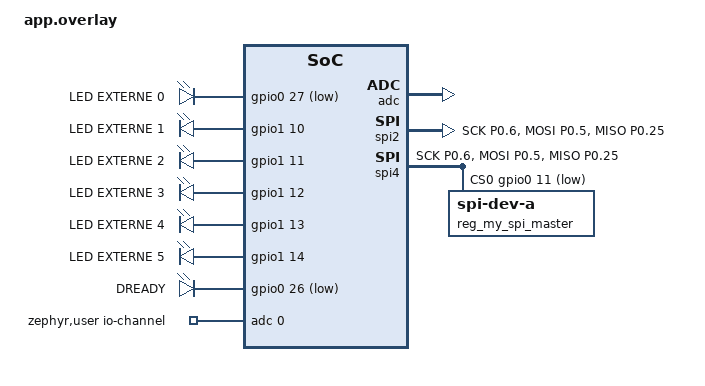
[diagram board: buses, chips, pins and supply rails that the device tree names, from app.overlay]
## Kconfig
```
#
# Copyright (c) 2018 Nordic Semiconductor
#
# SPDX-License-Identifier: LicenseRef-Nordic-5-Clause
#

source "Kconfig.zephyr"

menu "Nordic UART BLE GATT service sample"

config BT_NUS_THREAD_STACK_SIZE
	int "Thread stack size"
	default 1024
	help
	  Stack size used in each of the two threads

config BT_NUS_UART_BUFFER_SIZE
	int "UART payload buffer element size"
	default 40
	help
	  Size of the payload buffer in each RX and TX FIFO element

config BT_NUS_SECURITY_ENABLED
	bool "Enable security"
	default y
	select BT_SMP
	help
	  "Enable BLE security for the UART service"

config BT_NUS_UART_RX_WAIT_TIME
	int "Timeout for UART RX complete event"
	default 50
	help
	  Wait for RX complete event time in milliseconds

config BT_NUS_UART_ASYNC_ADAPTER
	bool "Enable UART async adapter"
	select SERIAL_SUPPORT_ASYNC
	help
	  Enables asynchronous adapter for UART drives that supports only
	  IRQ interface.
	  
config COUNTER_RTC0
	bool
	default y if SOC_FAMILY_NRF

config COUNTER_SAM0_TC32
	bool
	default y if BOARD_ATSAMD20_XPRO
endmenu
```

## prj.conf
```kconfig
#
# Copyright (c) 2018 Nordic Semiconductor
#
# SPDX-License-Identifier: LicenseRef-Nordic-5-Clause
#

# Enable the UART driver
CONFIG_UART_ASYNC_API=y
CONFIG_NRFX_UARTE0=y
CONFIG_SERIAL=y

CONFIG_GPIO=y

# Make sure printk is printing to the UART console
CONFIG_CONSOLE=y
CONFIG_UART_CONSOLE=y

CONFIG_HEAP_MEM_POOL_SIZE=2048

CONFIG_BT=y
CONFIG_BT_PERIPHERAL=y
CONFIG_BT_DEVICE_NAME="Nordic_UART_Service"
CONFIG_BT_DEVICE_APPEARANCE=833
CONFIG_BT_MAX_CONN=1
CONFIG_BT_MAX_PAIRED=1

# Enable the NUS service
CONFIG_BT_NUS=y

# Enable bonding
CONFIG_BT_SETTINGS=y
CONFIG_FLASH=y
CONFIG_FLASH_PAGE_LAYOUT=y
CONFIG_FLASH_MAP=y
CONFIG_NVS=y
CONFIG_SETTINGS=y

# Enable DK LED and Buttons library
CONFIG_DK_LIBRARY=y

# This example requires more workqueue stack
CONFIG_SYSTEM_WORKQUEUE_STACK_SIZE=2048

# Config logger
CONFIG_LOG=y
CONFIG_USE_SEGGER_RTT=y
CONFIG_LOG_BACKEND_RTT=y
CONFIG_LOG_BACKEND_UART=n

CONFIG_ASSERT=y

#
# Copyright (c) 2018 Nordic Semiconductor
#
# SPDX-License-Identifier: LicenseRef-Nordic-5-Clause
#
CONFIG_PRINTK=y
CONFIG_COUNTER=y
#CONFIG_COUNTER_RTC0=y

# Enable the UART driver
#CONFIG_UART_ASYNC_API=y
#CONFIG_NRFX_UARTE0=y

#SL: ADC config
#CONFIG_STDOUT_CONSOLE=y

CONFIG_ADC=y
CONFIG_ADC_ASYNC=y
CONFIG_ADC_NRFX_SAADC=y
CONFIG_MAIN_STACK_SIZE=4096
CONFIG_FPU=y
CONFIG_SPI=y
CONFIG_NFCT_PINS_AS_GPIOS=y
#CONFIG_OPENOCD_SUPPORT=y
CONFIG_DEBUG_OPTIMIZATIONS=y
#CONFIG_NRFX_SPIM=y
CONFIG_NRFX_SPIM2=y
CONFIG_NRFX_GPIOTE=y

CONFIG_LOG_PRINTK=y
```

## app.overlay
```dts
/ {
	aliases {
		ledext0 = &ledext0;
                ledext1 = &ledext1;
                ledext2 = &ledext2;
                ledext3 = &ledext3;
                ledext4 = &ledext4;
                ledext5 = &ledext5;
	};
};

/ {
leds {
      compatible = "gpio-leds";
	ledext0: led_ext0 {
		gpios = <&gpio0 27 GPIO_ACTIVE_LOW>; //d�finir le SPI reset sur le P1.02
		label = "LED EXTERNE 0";
                };
        ledext1: led_ext1 {
        	gpios = <&gpio1 10 GPIO_ACTIVE_HIGH>; //d�finir le led externe 1 sur le P1.10
        	label = "LED EXTERNE 1";
                };

        ledext2: led_ext2 {
        	gpios = <&gpio1 11 GPIO_ACTIVE_HIGH>;
        	label = "LED EXTERNE 2";
                };

        ledext3: led_ext3 {
        	gpios = <&gpio1 12 GPIO_ACTIVE_HIGH>;
        	label = "LED EXTERNE 3";
                };

        ledext4: led_ext4 {
        	gpios = <&gpio1 13 GPIO_ACTIVE_HIGH>;
        	label = "LED EXTERNE 4";
                };

        ledext5: led_ext5 {
        	gpios = <&gpio1 14 GPIO_ACTIVE_HIGH>;
        	label = "LED EXTERNE 5";
                };
		pinpwdn: pin_pwdn {
			gpios = <&gpio0 26 GPIO_ACTIVE_LOW>; //d�finir le power sur le P1.02
			label = "DREADY";
		};
      };
};

/ {
	zephyr,user {
		/* adjust channel number according to pinmux in board.dts */
		io-channels = <&adc 0>;
	};
};

&adc {
	status = "okay";
};

&uart1 {
	status = "disabled";
};

&pinctrl {
	spi_dummy: spi_dummy {
        group1 {
            psels = <NRF_PSEL(SPIM_SCK, 0, 0)>,
                <NRF_PSEL(SPIM_MISO, 0, 0)>,
                <NRF_PSEL(SPIM_MOSI, 0, 0)>;
        };
    };
};

&spi2 {
	compatible = "nordic,nrf-spim";
	status = "okay";
	pinctrl-names = "default";
	pinctrl-0 = <&spi_master_default>;
};

&gpio0 {
	status = "okay";
	label = "GPIO_0";
};

&pinctrl {
	spi_master_default: spi_master_default {
		group1 {
			psels = <NRF_PSEL(SPIM_SCK, 0, 6)>,
					<NRF_PSEL(SPIM_MOSI, 0, 5)>,
					<NRF_PSEL(SPIM_MISO, 0, 25)>;
		};
	};

	spi_master_sleep: spi_master_sleep {
		group1 {
			psels = <NRF_PSEL(SPIM_SCK, 0, 6)>,
					<NRF_PSEL(SPIM_MOSI, 0, 5)>,
					<NRF_PSEL(SPIM_MISO, 0, 25)>;
			low-power-enable;
		};
	};
};

my_spi_master: &spi4 {
	compatible = "nordic,nrf-spim";
	status = "okay";
	pinctrl-0 = <&spi_master_default>;
	pinctrl-1 = <&spi_master_sleep>;
	cs-gpios = <&gpio0 11 GPIO_ACTIVE_LOW>;
	reg_my_spi_master:  spi-dev-a@0 {
		reg = <0>;
	};
};



/ {
	chosen {
		nordic,nus-uart = &uart0;
	};
};
```

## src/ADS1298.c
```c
#include "ADS1298.h"
#include <zephyr/sys/printk.h>
#include <nrfx_spim.h>
#include <zephyr/device.h>
#include <zephyr/devicetree.h>
#include <zephyr/drivers/gpio.h>

#define POLL_DREADY

#ifndef POLL_DREADY
    #include <nrfx_gpiote.h>
#endif


volatile enum state_t {idle, send_command, receive_data, read_data, processing_data} state = idle;
bool new_data_available = false;

static const nrfx_spim_t m_spi = NRFX_SPIM_INSTANCE(SPI_INSTANCE);
volatile uint8_t rx_buffer[27], tx_buffer[8];
uint8_t sample_number = 0;

const struct device *gpio_dev_0;

inline int32_t buffer_to_channel(uint8_t id);
bool ADS1298_receive_data();
ADS1298_data_t ADS1298_convert_data();

#ifndef POLL_DREADY
    void data_ready_handler(nrfx_gpiote_pin_t pin, nrf_gpiote_polarity_t action);
#endif

void spim_event_handler(nrfx_spim_evt_t const *p_event, void *p_context) 
{
    switch (p_event->type)
    {
    case NRFX_SPIM_EVENT_DONE:
        if(state == receive_data) {
            new_data_available = true;
        } 
        state = idle;
        break;
    default:
        break;
    }
    return;
}

#ifndef POLL_DREADY
void data_ready_handler(nrfx_gpiote_pin_t pin, nrf_gpiote_polarity_t action) {
    if(pin == PIN_DRDY && action == NRF_GPIOTE_POLARITY_HITOLO) {
        printk("new dready\n");
        ADS1298_receive_data();
    }
}
#endif
#define APP_SPIM_CS_PIN (2)
#define APP_SPIM_SCK_PIN (8)
#define APP_SPIM_MISO_PIN (24)
#define APP_SPIM_MOSI_PIN (9)
bool ADS1298_init() {
    nrfx_spim_config_t config = NRFX_SPIM_DEFAULT_CONFIG(APP_SPIM_SCK_PIN, APP_SPIM_MOSI_PIN, APP_SPIM_MISO_PIN, NRFX_SPIM_PIN_NOT_USED);
    config.frequency = NRF_SPIM_FREQ_2M;
    config.ss_active_high = false;
    config.bit_order = SPIM_CONFIG_ORDER_MsbFirst;
    config.mode = NRF_SPIM_MODE_1;
    
    //nrfx_spim_uninit(&m_spi);
    int err = nrfx_spim_init(&m_spi, &config, spim_event_handler, NULL);

     if(err == NRFX_SUCCESS) {
        printk("SPI init success\r\n");
    } else {
        printk("FAIL: SPI init failed: %d\r\n", err);
        return false;
    }
    
    gpio_dev_0 = device_get_binding("GPIO_0");

    if (gpio_dev_0 == NULL) {
		return false;
	}

    #ifdef POLL_DREADY
        printk("Configure DREADY pin\r\n");
        err = gpio_pin_configure(gpio_dev_0, 7, GPIO_INPUT);
        printk("Return config DREADY pin: %d\r\n", err);
    #else
        // Interrupt
        if(!nrfx_gpiote_is_init()) {
            err = nrfx_gpiote_init(6);

            if(err == NRFX_SUCCESS) {
                printk("Pin IRQ init success\r\n");
            } else {
                printk("FAIL: pin IRQ init failed: %d\r\n", err);
                return false;
            }
        }

        nrfx_gpiote_in_config_t irq_config = NRFX_GPIOTE_CONFIG_IN_SENSE_TOGGLE(false ); // TODO: what is argument?
        err = nrfx_gpiote_in_init(PIN_DRDY, &irq_config, data_ready_handler);

        if(err == NRFX_SUCCESS) {
            printk("Pin IRQ config success\r\n");
        } else {
            printk("FAIL: pin IRQ config failed: %d\r\n", err);
            return false;
        }
    #endif

    #ifndef POLL_DREADY
        nrfx_gpiote_in_event_enable(PIN_DRDY, true);
    #endif

    return true; 
}

void poll_dready() {
    if(gpio_pin_get(gpio_dev_0, 7) == 0) {
        ADS1298_receive_data();
    }
}

int spi_transfer(const nrfx_spim_xfer_desc_t *desc) {
    return nrfx_spim_xfer(&m_spi, desc, 0);
}

bool ADS1298_send_command(uint8_t command) {
    if(state == idle) {
        nrfx_spim_xfer_desc_t spim_xfer_desc = NRFX_SPIM_XFER_TX(tx_buffer, 1);
        spim_xfer_desc.p_rx_buffer = NULL;
        spim_xfer_desc.rx_length = 0;
        tx_buffer[0] = command;
        state = send_command;

        int err = spi_transfer(&spim_xfer_desc);
        if(err != NRFX_SUCCESS) {
            printk("send command err: %d\r\n", err);
        }
        return true;
    } else {
        return false;
    }
}

/* function de read bloquant */
uint8_t ADS1298_read_data() {
    if(state == idle) {
        state = read_data;
        new_data_available = false;
        nrfx_spim_xfer_desc_t spim_xfer_desc = NRFX_SPIM_XFER_RX(rx_buffer, 1);
        spi_transfer(&spim_xfer_desc);
        while(state != idle)
        {
          __WFE();
        }
        return rx_buffer[0];
    } else {
        return ;
    }
}

bool ADS1298_receive_data() {
    if(state == idle) {
        state = receive_data;
        new_data_available = false;
        nrfx_spim_xfer_desc_t spim_xfer_desc = NRFX_SPIM_XFER_RX(rx_buffer, 27);
        spi_transfer(&spim_xfer_desc);
        return true;
    } else {
        return false;
    }
}

bool ADS1298_poll_new_data(ADS1298_data_t *data) {
    if(new_data_available) {
        new_data_available = false;
        state = processing_data;

        *data = ADS1298_convert_data();
       
        state = idle;
        return true;
    } else {
        return false;
    }
}

ADS1298_data_t ADS1298_convert_data() {
    /* Data structure: */
    /* 24 bit status */
    /*  - 1100 + LOFF_STATP(8 bit) + LOFF_STATN(8 bit) + GPIO(4 bit) */
    /* 8ch * 24 bits data */

    ADS1298_data_t data;
    
    data.lead_off_positive = rx_buffer[0] << 4;
    data.lead_off_positive |= (rx_buffer[1] & 0b11110000) >> 4;
    data.lead_off_negative = rx_buffer[1] << 4;
    data.lead_off_negative |= (rx_buffer[2] & 0b11110000) >> 4;

    data.gpio_0 = rx_buffer[2] & 0b00001000;
    data.gpio_1 = rx_buffer[2] & 0b00000100;
    data.gpio_2 = rx_buffer[2] & 0b00000010;
    data.gpio_3 = rx_buffer[2] & 0b00000001;

    data.channgel_0 = buffer_to_channel(0);
    data.channgel_1 = buffer_to_channel(1);
    data.channgel_2 = buffer_to_channel(2);
    data.channgel_3 = buffer_to_channel(3);
    data.channgel_4 = buffer_to_channel(4);
    data.channgel_5 = buffer_to_channel(5);
    data.channgel_6 = buffer_to_channel(6);
    data.channgel_7 = buffer_to_channel(7);

    return data;
}

inline int32_t buffer_to_channel(uint8_t id) {
    return rx_buffer[3 + id] << 16 | (rx_buffer[3 + id + 1] << 8) | rx_buffer[3 + id + 2];
}

bool get_spi_busy() {
    return state != idle;
}



uint8_t ads1298_read_ID()             
{
                ADS1298_send_command(0x20);// OPCODE1 = 0x20 = 0b0010 0000 : 001 = commande READ RREG |  0 0000 = Adresse du registe ID 
                k_usleep(64);
		ADS1298_send_command(0x00); // OPCODE2 = number of register -1 = 0= 0x00
                k_usleep(64);
	        return ADS1298_read_data();  
}


bool ads1298_write_command(uint8_t val)
{	
	ADS1298_send_command(val);
	return true;	
}




//uint8_t ads1298_read_register(uint8_t reg)
//{
//		uint8_t val = 0;
//		ads1298_read_multiple_register(reg, &val, 1);
//		return val;
//}

//bool ads1298_read_multiple_register(uint8_t reg, uint8_t* val, uint8_t num)
//{
//		ADS1298_send_command(COMMAND_RREG | (reg & 0x1F));
//                k_usleep(64);
//		ADS1298_send_command((num - 1) & 0x1F);
//                k_usleep(64);
//		for(int i = 0; i < num; i++)
//			*(val + i) = ADS1298_read_data();
//    return true;
		
//}


bool ads1298_write_register(uint8_t reg, uint8_t val)
{
    ads1298_write_multiple_register(reg, &val, 1);
    return true;
}

bool ads1298_write_multiple_register(uint8_t reg, uint8_t* val, uint8_t num)
  {	
		ADS1298_send_command(ADS129X_CMD_WREG | (reg & 0x1F));
                k_usleep(64);
		ADS1298_send_command((num - 1) & 0x1F);
                k_usleep(64);
	
		for(int i = 0; i < num; i++)
                    {
                      ADS1298_send_command(*(val + i));
                      k_usleep(64);
                    }

		return true;	
  }
  
bool ADS1298_send_start() {
    return ADS1298_send_command(COMMAND_START);
}
bool ADS1298_send_stop() {
    return ADS1298_send_command(COMMAND_STOP);
}
bool ADS1298_send_read_continuous() {
    return ADS1298_send_command(COMMAND_RDATAC);
}

bool ADS1298_send_read_data() {
    return ADS1298_send_command(COMMAND_RDATA);
}

bool ADS1298_send_stop_read_continuous() {
    return ADS1298_send_command(COMMAND_SDATAC);
}

bool ADS1298_send_reset() {
    return ADS1298_send_command(COMMAND_RESET);
}

bool ADS1298_send_wakeup() {
    return ADS1298_send_command(COMMAND_WAKEUP);
}
```

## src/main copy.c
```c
/*
 * Copyright (c) 2012-2014 Wind River Systems, Inc.
 *
 * SPDX-License-Identifier: Apache-2.0
 */

#include <zephyr/kernel.h>
#include <zephyr/device.h>
#include <zephyr/devicetree.h>
#include <zephyr/net/socket.h>
#include <zephyr/types.h>
#include <zephyr/drivers/uart.h>
#include <zephyr/drivers/gpio.h>
#include <zephyr/drivers/adc.h>
#include <zephyr/drivers/counter.h>
#include <zephyr/usb/usb_device.h>
#include <stdio.h>
#include <string.h>
#include "ADS1298.c"

#define TIMER DT_NODELABEL(rtc0)

static volatile bool flag = false;
static volatile bool flag_run = false;

const static struct device *dev0, *dev1;

/* L'identifiant des noeuds de Devicetree pour l'alias "ledextn" n allant de 1 ? 4. */
#define LEDEXT0_NODE DT_ALIAS(ledext0)
#define LEDEXT1_NODE DT_ALIAS(ledext1)
#define LEDEXT2_NODE DT_ALIAS(ledext2)
#define LEDEXT3_NODE DT_ALIAS(ledext3)
#define LEDEXT4_NODE DT_ALIAS(ledext4)
#define LEDEXT5_NODE DT_ALIAS(ledext5)
#if DT_NODE_HAS_STATUS(LEDEXT0_NODE, okay)
#define LEDEXT0	DT_GPIO_LABEL(LEDEXT0_NODE, gpios)
#define PIN0	DT_GPIO_PIN(LEDEXT0_NODE, gpios)
#define FLAGS0	DT_GPIO_FLAGS(LEDETX0_NODE, gpios)
#else
/* Sinon, une erreur de construction signifie que la carte n'est pas configur?e pour clignoter une LED.*/
#error "Unsupported board: ledext0 devicetree alias is not defined"
#define LEDEXT0	""
#define PIN0	0
#define FLAGS0	0
#endif


void reset_ADS1298()
{
        int err = 0; 
        static int ret0;
        // lier les leds avec les p�riph�riques
        dev0 = device_get_binding(LEDEXT0);

        if (dev0 == NULL ){
                printk("Error: cannot find reset pin of SPI\n");
                return;
        }
       
        // configurer les pins avec les p�riph�riques, r�ussi si le retour est 0
        ret0 = gpio_pin_configure(dev0, PIN0, GPIO_OUTPUT_ACTIVE | FLAGS0);
        if (ret0 < 0 ){
                printk("Error: pin reset SPI can't be configured\n");
                return;
        }
        gpio_pin_set(dev0, PIN0, 1);   
        k_usleep(10);  // wait 18 * TCLK = 18 * 514ns 
        gpio_pin_set(dev0, PIN0, 0);
        k_msleep(500); 
        gpio_pin_set(dev0, PIN0, 1);
        k_msleep(500);
}

void config_ADS1298()
{
        // Ajouter les fonction pour configurer ADS1298 
        ads1298_write_register(ADS129X_REG_CONFIG1, 0x00); // HR mode + 500 SPS
        ads1298_write_register(ADS129X_REG_CONFIG2, 0x00); // default register
        ads1298_write_register(ADS129X_REG_CONFIG3, 0xE0); // internal power ref = 4 V
        ads1298_write_register(ADS129X_REG_CONFIG4, 0x00); // default register



        // GAIN_ONE = 0x10 pour fixer le gain de PGA � 1 ( PGA = amplificateur � gain programmable )
        ads1298_write_register(ADS129X_REG_CH1SET, GAIN_ONE);
        ads1298_write_register(ADS129X_REG_CH2SET, TURN_OFF_CHANNEL);
        ads1298_write_register(ADS129X_REG_CH3SET, TURN_OFF_CHANNEL);
        ads1298_write_register(ADS129X_REG_CH4SET, TURN_OFF_CHANNEL);

}

static void test_counter_interrupt_fn(const struct device *counter_dev,
				      uint8_t chan_id, uint32_t ticks,
				      void *user_data)
{
                    struct counter_alarm_cfg *config = user_data;
                    int err;

                    flag = true;
                    //printk("blalalalalalalala,%d \n",(int)flag);

                    /* Set a new alarm with a double length duration */
                    config->ticks = config->ticks;

                    err = counter_set_channel_alarm(counter_dev, 0,
					user_data);
                    if (err != 0) {
                            printk("Alarm could not be set\n");
                    }
}




void main(void)
{
	static int ret1;
	dev1 = device_get_binding("GPIO_0");
	if (dev1 == NULL) {
		printk("Error: cannot find one or more devices\n"); 
		return;
	}
	ret1 = gpio_pin_configure(dev1, 26, GPIO_OUTPUT_ACTIVE | 0);
	if (ret1 < 0) {
		printk("Error: One or more leds can't confiigure\n");
	return;
	}
	k_usleep(1000000);
	/************************Timer Interruption*****************************/
	const struct device *counter_dev;
	counter_dev = DEVICE_DT_GET(TIMER);
	if (counter_dev == NULL) {
		printk("Device not found\n");
		return;
	}
	counter_start(counter_dev);
	struct counter_alarm_cfg alarm_cfg1;
	alarm_cfg1.flags = 0;
	alarm_cfg1.ticks = counter_us_to_ticks(counter_dev, 10000);
	alarm_cfg1.callback = test_counter_interrupt_fn;
	alarm_cfg1.user_data = &alarm_cfg1;

	int err = counter_set_channel_alarm(counter_dev, 0,&alarm_cfg1);

	printk("Set alarm in %u msec (%u ticks)\n",
		(uint32_t)(counter_ticks_to_us(counter_dev,
					alarm_cfg1.ticks) / MSEC_PER_SEC),
		alarm_cfg1.ticks);

	if (-EINVAL == err) {
	printk("Alarm settings invalid\n");
	} else if (-ENOTSUP == err) {
		printk("Alarm setting request not supported\n");
	} else if (err != 0) {
		printk("Error\n");
	}
	        /************************ADS1298 congifuration*****************************/
	 // initialisation:
	printk("ADS_init : %s\n", ADS1298_init() ? "OK" : "FAIL");
	k_msleep(10);
		// eteindre puis rallumer l'ads
	printk("ADS1298_power_off\n");
	gpio_pin_set(dev1, 26, 0);
	k_msleep(1000);
	gpio_pin_set(dev1, 26, 1);
	printk("ADS Powered ON\n");
	k_msleep(1000);
	// Faire appel � la fonction reset_ADS1298() pour faire le reset.
	reset_ADS1298();
	printk("ADS1298_reset success\n");
	k_usleep(9); // 18 * 514ns
	err = ADS1298_send_wakeup();
	printk("HERE\n");
	if (err == true){printk("ADS1298_send_wakeup success\n");}
	else{printk("ADS1298_send_wakeup failed \n");}
	k_msleep(1000);

	// cette commande est necessaire avant de lire des registre datasheet ADS1298 page 64 
	err = ADS1298_send_stop_read_continuous();
	if (err == true){printk("ADS1298_send_stop_read_continuous success\n");}
	else{printk("ADS1298_send_stop_read_continuous failed \n");}
	k_msleep(500);

	// lire le registre ID:
	uint8_t regid = ads1298_read_ID();
	printk("ADS1298_ID %x\n", regid); // ID = 0x92 datasheet page 66
	k_msleep(1000);

	// Configurer ADS1298
	config_ADS1298 ();
	printk("ADS1298_config success\n");
	for (;;){ 
		flag = true;
          if(flag == 1){
			k_usleep(200);//ite marcher le led1 avec son �tat d�fini durant le temps d�fini

			// (Re)Lancer une  conversion: 
			err = ADS1298_send_start();
			k_usleep(350);  // 584*periode clk ads
			
			// envoyer opcode RDATA et recevoir les donn�es:
			err = ADS1298_send_read_data();
			k_usleep(10);  // 8*TSCLK
			ADS1298_receive_data();
			k_usleep(110);

			
			//Extraire les donn�es de chaque channel � partir du beffer(rx_buffer)
			//data = rxbuf2channels();
			printk("ecg %d\n", (rx_buffer[3] << 16 | rx_buffer[4] << 8 | rx_buffer[5]));
			printk("diode %d\n", (rx_buffer[6] << 16 | rx_buffer[7] << 8 | rx_buffer[8]));
		}
		k_sleep(K_MSEC(10));
	}

}
```
